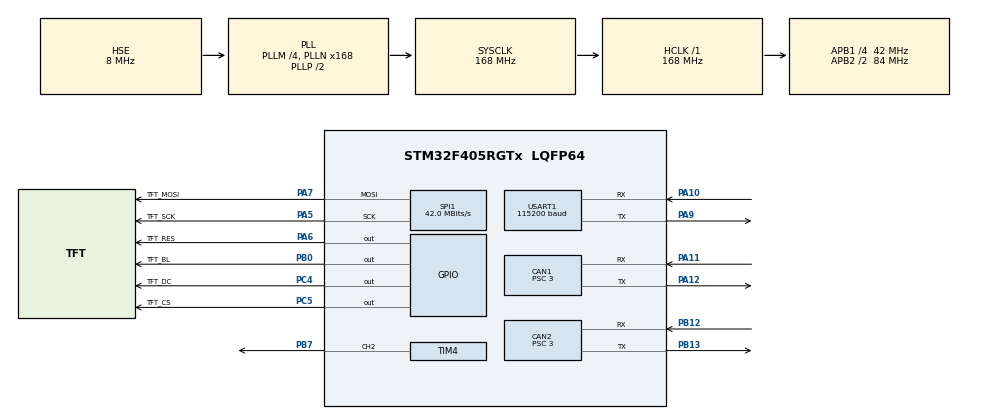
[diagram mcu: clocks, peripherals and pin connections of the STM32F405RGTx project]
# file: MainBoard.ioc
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CAN1.ABOM=ENABLE
CAN1.AWUM=DISABLE
CAN1.BS1=CAN_BS1_10TQ
CAN1.BS2=CAN_BS2_3TQ
CAN1.CalculateBaudRate=1000000
CAN1.CalculateTimeQuantum=71.42857142857143
CAN1.Mode=CAN_MODE_NORMAL
CAN1.NART=DISABLE
CAN1.Prescaler=3
CAN1.SJW=CAN_SJW_1TQ
CAN2.ABOM=ENABLE
CAN2.AWUM=DISABLE
CAN2.BS1=CAN_BS1_10TQ
CAN2.BS2=CAN_BS2_3TQ
CAN2.CalculateBaudRate=1000000
CAN2.CalculateTimeQuantum=71.42857142857143
CAN2.Mode=CAN_MODE_NORMAL
CAN2.NART=DISABLE
CAN2.Prescaler=3
CAN2.SJW=CAN_SJW_1TQ
Dma.Request0=SPI1_TX
Dma.SPI1_TX.0.Direction=DMA_MEMORY_TO_PERIPH
Dma.SPI1_TX.0.FIFOMode=DMA_FIFOMODE_ENABLE
Dma.SPI1_TX.0.FIFOThreshold=DMA_FIFO_THRESHOLD_FULL
Dma.SPI1_TX.0.Instance=DMA2_Stream3
Dma.SPI1_TX.0.MemBurst=DMA_MBURST_INC16
Dma.SPI1_TX.0.MemDataAlignment=DMA_MDATAALIGN_BYTE
Dma.SPI1_TX.0.MemInc=DMA_MINC_ENABLE
Dma.SPI1_TX.0.Mode=DMA_NORMAL
Dma.SPI1_TX.0.PeriphBurst=DMA_PBURST_SINGLE
Dma.SPI1_TX.0.PeriphDataAlignment=DMA_PDATAALIGN_BYTE
Dma.SPI1_TX.0.PeriphInc=DMA_PINC_DISABLE
Dma.SPI1_TX.0.Priority=DMA_PRIORITY_LOW
Mcu.Family=STM32F4
Mcu.Name=STM32F405RGTx
Mcu.Package=LQFP64
NVIC.CAN1_RX0_IRQn=true\:0\:0\:false\:false\:true\:true\:true\:true
NVIC.CAN1_RX1_IRQn=true\:0\:0\:false\:false\:true\:true\:true\:true
NVIC.CAN2_RX0_IRQn=true\:0\:0\:false\:false\:true\:true\:true\:true
NVIC.CAN2_RX1_IRQn=true\:0\:0\:false\:false\:true\:true\:true\:true
NVIC.DMA2_Stream3_IRQn=true\:0\:0\:false\:false\:true\:false\:true\:true
NVIC.PriorityGroup=NVIC_PRIORITYGROUP_4
NVIC.SPI1_IRQn=true\:0\:0\:false\:false\:true\:true\:true\:true
NVIC.USART1_IRQn=true\:0\:0\:false\:false\:true\:true\:true\:true
PA10.Mode=Asynchronous
PA10.Signal=USART1_RX
PA11.Mode=CAN_Activate
PA11.Signal=CAN1_RX
PA12.Mode=CAN_Activate
PA12.Signal=CAN1_TX
PA13.Mode=Serial_Wire
PA13.Signal=SYS_JTMS-SWDIO
PA14.Mode=Serial_Wire
PA14.Signal=SYS_JTCK-SWCLK
PA5.GPIO_Label=TFT_SCK
PA5.Mode=TX_Only_Simplex_Unidirect_Master
PA5.Signal=SPI1_SCK
PA6.GPIO_Label=TFT_RES
PA6.Signal=GPIO_Output
PA7.GPIO_Label=TFT_MOSI
PA7.Mode=TX_Only_Simplex_Unidirect_Master
PA7.Signal=SPI1_MOSI
PA9.Mode=Asynchronous
PA9.Signal=USART1_TX
PB0.GPIO_Label=TFT_BL
PB0.Signal=GPIO_Output
PB12.Mode=CAN_Activate
PB12.Signal=CAN2_RX
PB13.Mode=CAN_Activate
PB13.Signal=CAN2_TX
PB7.GPIO_Speed=GPIO_SPEED_FREQ_LOW
PB7.Signal=S_TIM4_CH2
PC4.GPIO_Label=TFT_DC
PC4.Signal=GPIO_Output
PC5.GPIO_Label=TFT_CS
PC5.Signal=GPIO_Output
PH0-OSC_IN.Mode=HSE-External-Oscillator
PH0-OSC_IN.Signal=RCC_OSC_IN
PH1-OSC_OUT.Mode=HSE-External-Oscillator
PH1-OSC_OUT.Signal=RCC_OSC_OUT
ProjectManager.HeapSize=0x200
ProjectManager.StackSize=0x400
ProjectManager.TargetToolchain=CMake
RCC.48MHZClocksFreq_Value=84000000
RCC.AHBFreq_Value=168000000
RCC.APB1CLKDivider=RCC_HCLK_DIV4
RCC.APB1Freq_Value=42000000
RCC.APB1TimFreq_Value=84000000
RCC.APB2CLKDivider=RCC_HCLK_DIV2
RCC.APB2Freq_Value=84000000
RCC.APB2TimFreq_Value=168000000
RCC.CortexFreq_Value=168000000
RCC.HCLKFreq_Value=168000000
RCC.HSE_VALUE=8000000
RCC.HSI_VALUE=16000000
RCC.LSE_VALUE=32768
RCC.PLLM=4
RCC.PLLN=168
RCC.PLLSourceVirtual=RCC_PLLSOURCE_HSE
RCC.SYSCLKFreq_VALUE=168000000
RCC.SYSCLKSource=RCC_SYSCLKSOURCE_PLLCLK
RCC.VCOOutputFreq_Value=336000000
SH.S_TIM4_CH2.0=TIM4_CH2,PWM Generation2 CH2
SPI1.BaudRatePrescaler=SPI_BAUDRATEPRESCALER_2
SPI1.CalculateBaudRate=42.0 MBits/s
SPI1.Direction=SPI_DIRECTION_2LINES
SPI1.Mode=SPI_MODE_MASTER
SPI1.VirtualType=VM_MASTER
TIM2.AutoReloadPreload=TIM_AUTORELOAD_PRELOAD_DISABLE
TIM2.ClockDivision=TIM_CLOCKDIVISION_DIV1
TIM2.CounterMode=TIM_COUNTERMODE_UP
TIM2.Period=4294967295
TIM2.Prescaler=83
TIM4.AutoReloadPreload=TIM_AUTORELOAD_PRELOAD_DISABLE
TIM4.Channel-PWM\ Generation2\ CH2=TIM_CHANNEL_2
TIM4.ClockDivision=TIM_CLOCKDIVISION_DIV1
TIM4.CounterMode=TIM_COUNTERMODE_UP
TIM4.OCFastMode_PWM-PWM\ Generation2\ CH2=TIM_OCFAST_DISABLE
TIM4.OCMode_PWM-PWM\ Generation2\ CH2=TIM_OCMODE_PWM1
TIM4.OCPolarity_2=TIM_OCPOLARITY_HIGH
TIM4.Period=19999
TIM4.Prescaler=83
TIM4.PulseNoDither_2=1500
TIM4.TIM_MasterOutputTrigger=TIM_TRGO_RESET
TIM4.TIM_MasterSlaveMode=TIM_MASTERSLAVEMODE_DISABLE
USART1.BaudRate=115200
USART1.VirtualMode=VM_ASYNC
VP_TIM2_VS_ClockSourceINT.Mode=Internal
board=custom

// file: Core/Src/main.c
/* USER CODE BEGIN Header */
/**
  ******************************************************************************
  * @file           : main.c
  * @brief          : Main program body
  ******************************************************************************
  * @attention
  *
  * Copyright (c) 2026 STMicroelectronics.
  * All rights reserved.
  *
  * This software is licensed under terms that can be found in the LICENSE file
  * in the root directory of this software component.
  * If no LICENSE file comes with this software, it is provided AS-IS.
  *
  ******************************************************************************
  */
/* USER CODE END Header */
#include "main.h"
#include "can.h"
#include "dma.h"
#include "spi.h"
#include "tim.h"
#include "usart.h"
#include "gpio.h"

/* USER CODE BEGIN Includes */
#include "lcd/lcd.h"
#include "lcd/lcd_graphics.h"
#include "robotics_logo.h"
#include "tr_drive.h"
/* USER CODE END Includes */

void SystemClock_Config(void);

/* USER CODE BEGIN 0 */
/* Q status is the HAL enqueue result only; live ESC replies are shown in C1/C2. */
static char can_queue_code(uint8_t init_ok, uint8_t tx_ok, uint32_t tx_failures)
{
  if (init_ok == 0U) return 'I';
  if (tx_failures != 0U) return '!';
  return (tx_ok != 0U) ? 'O' : 'E';
}

/* USER CODE END 0 */

int main(void)
{

  /* MCU Configuration--------------------------------------------------------*/

  /* Reset of all peripherals, Initializes the Flash interface and the Systick. */
  HAL_Init();

  /* Configure the system clock */
  SystemClock_Config();

  /* Initialize all configured peripherals */
  MX_GPIO_Init();
  MX_DMA_Init();
  MX_CAN1_Init();
  MX_CAN2_Init();
  MX_SPI1_Init();
  MX_USART1_UART_Init();
  MX_TIM2_Init();
  MX_TIM4_Init();
  /* USER CODE BEGIN 2 */
  // Starts CAN (RM motors, targets 0) and UART receive for Controller commands
  TRDrive_Init();

  tft_init(PIN_ON_TOP, BLACK, WHITE, CYAN, DARK_GREY);
  tft_prints(0, 0, "TR DRIVE");
  tft_update(0);

  /* USER CODE END 2 */

  /* Infinite loop */
  while (1)
  {

    /* USER CODE BEGIN 3 */
    TRDrive_Update();

    TRDrive_Status st;
    TRDrive_GetStatus(&st);

    const char can1_code = can_queue_code(st.can1_init_ok, st.can1_tx_ok, st.can1_tx_failures);
#if TR_BACK_ON_CAN2
    const char can2_code = can_queue_code(st.can2_init_ok, st.can2_tx_ok, st.can2_tx_failures);
#else
    const char can2_code = '-';
#endif
    const int fl_current_deci_a = (int)(st.current_a[TR_WHEEL_FL] * 10.0f);
    const int fr_current_deci_a = (int)(st.current_a[TR_WHEEL_FR] * 10.0f);
    const int b_current_deci_a = (int)(st.current_a[TR_WHEEL_B] * 10.0f);

    tft_prints(0, 0, "TR DRIVE");
    tft_prints(0, 1, "L:%s Q1:%c Q2:%c", st.link_ok ? "OK" : "--", can1_code, can2_code);
    tft_prints(0, 2, "X%-4dY%-4dR%-4d", (int)st.move_x_pct, (int)st.move_y_pct, (int)st.rot_pct);
    tft_prints(0, 3, "RX:%-5u ERR:%-3u", (unsigned)st.rx_bytes, (unsigned)st.uart_err);
    tft_prints(0, 4, "A/T RPM I0.1A");
    tft_prints(0, 5, "FL%4d/%4d I%+03d", (int)st.actual_rpm[TR_WHEEL_FL], (int)st.target_rpm[TR_WHEEL_FL], fl_current_deci_a);
    tft_prints(0, 6, "FR%4d/%4d I%+03d", (int)st.actual_rpm[TR_WHEEL_FR], (int)st.target_rpm[TR_WHEEL_FR], fr_current_deci_a);
    tft_prints(0, 7, "B %4d/%4d I%+03d", (int)st.actual_rpm[TR_WHEEL_B], (int)st.target_rpm[TR_WHEEL_B], b_current_deci_a);
    tft_prints(0, 8, "C1:%02X C2:%02X", (unsigned)st.can1_ids, (unsigned)st.can2_ids);
    tft_prints(0, 9, "ARM:%-2d %-4dus", (int)st.a, (int)st.arm_us);
    tft_prints(0, 10, "H:%s %4d", st.heading_requested ? (st.heading_valid ? "ON  " : "WAIT") : "OFF ", (int)st.heading_deg);
    const char *turn_label = st.turn_state == TR_TURN_RUN ? "RUN" :
                             st.turn_state == TR_TURN_DONE ? "DONE" :
                             st.turn_state == TR_TURN_ABORT ? "ABORT" :
                             st.turn_state == TR_TURN_NOFB ? "NOFB" :
                             st.turn_state == TR_TURN_REJECT ? "REJECT" :
                             st.turn_state == TR_TURN_WRONG_WAY ? "WRONG" : "IDLE";
    tft_prints(0, 11, "TURN:%-6s", turn_label);
    tft_update(50);
  }
  /* USER CODE END 3 */
}

void SystemClock_Config(void)
{
  RCC_OscInitTypeDef RCC_OscInitStruct = {0};
  RCC_ClkInitTypeDef RCC_ClkInitStruct = {0};

  /** Configure the main internal regulator output voltage
  */
  __HAL_RCC_PWR_CLK_ENABLE();
  __HAL_PWR_VOLTAGESCALING_CONFIG(PWR_REGULATOR_VOLTAGE_SCALE1);

  /** Initializes the RCC Oscillators according to the specified parameters
  * in the RCC_OscInitTypeDef structure.
  */
  RCC_OscInitStruct.OscillatorType = RCC_OSCILLATORTYPE_HSE;
  RCC_OscInitStruct.HSEState = RCC_HSE_ON;
  RCC_OscInitStruct.PLL.PLLState = RCC_PLL_ON;
  RCC_OscInitStruct.PLL.PLLSource = RCC_PLLSOURCE_HSE;
  RCC_OscInitStruct.PLL.PLLM = 4;
  RCC_OscInitStruct.PLL.PLLN = 168;
  RCC_OscInitStruct.PLL.PLLP = RCC_PLLP_DIV2;
  RCC_OscInitStruct.PLL.PLLQ = 4;
  if (HAL_RCC_OscConfig(&RCC_OscInitStruct) != HAL_OK)
  {
    Error_Handler();
  }

  /** Initializes the CPU, AHB and APB buses clocks
  */
  RCC_ClkInitStruct.ClockType = RCC_CLOCKTYPE_HCLK|RCC_CLOCKTYPE_SYSCLK
                              |RCC_CLOCKTYPE_PCLK1|RCC_CLOCKTYPE_PCLK2;
  RCC_ClkInitStruct.SYSCLKSource = RCC_SYSCLKSOURCE_PLLCLK;
  RCC_ClkInitStruct.AHBCLKDivider = RCC_SYSCLK_DIV1;
  RCC_ClkInitStruct.APB1CLKDivider = RCC_HCLK_DIV4;
  RCC_ClkInitStruct.APB2CLKDivider = RCC_HCLK_DIV2;

  if (HAL_RCC_ClockConfig(&RCC_ClkInitStruct, FLASH_LATENCY_5) != HAL_OK)
  {
    Error_Handler();
  }
}

void Error_Handler(void)
{
  __disable_irq();
  while (1)
  {
  }
}
